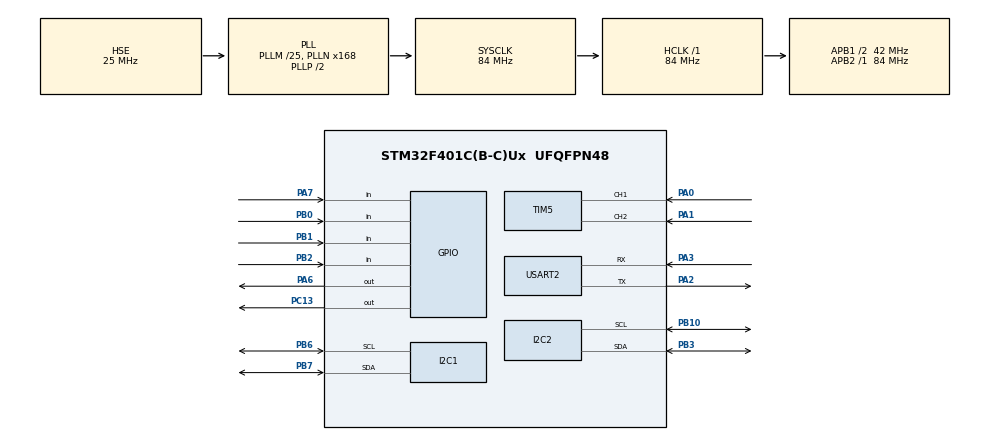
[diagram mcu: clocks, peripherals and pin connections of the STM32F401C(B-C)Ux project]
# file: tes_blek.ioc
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I2C1.I2C_Mode=I2C_Standard
I2C2.I2C_Mode=I2C_Fast
Mcu.Family=STM32F4
Mcu.Name=STM32F401C(B-C)Ux
Mcu.Package=UFQFPN48
NVIC.PriorityGroup=NVIC_PRIORITYGROUP_4
NVIC.TIM2_IRQn=true\:0\:0\:false\:false\:true\:true\:true\:true
NVIC.USART2_IRQn=true\:0\:0\:false\:false\:true\:true\:true\:true
PA0-WKUP.Signal=S_TIM5_CH1
PA1.Signal=S_TIM5_CH2
PA2.Mode=Asynchronous
PA2.Signal=USART2_TX
PA3.Mode=Asynchronous
PA3.Signal=USART2_RX
PA6.GPIO_PuPd=GPIO_NOPULL
PA6.Signal=GPIO_Output
PA7.GPIO_PuPd=GPIO_PULLDOWN
PA7.Signal=GPIO_Input
PB0.GPIO_PuPd=GPIO_PULLDOWN
PB0.Signal=GPIO_Input
PB1.GPIO_PuPd=GPIO_PULLDOWN
PB1.Signal=GPIO_Input
PB10.Mode=I2C
PB10.Signal=I2C2_SCL
PB2.GPIO_PuPd=GPIO_PULLUP
PB2.Signal=GPIO_Input
PB3.Mode=I2C
PB3.Signal=I2C2_SDA
PB6.Mode=I2C
PB6.Signal=I2C1_SCL
PB7.Mode=I2C
PB7.Signal=I2C1_SDA
PC13-ANTI_TAMP.GPIO_PuPd=GPIO_PULLDOWN
PC13-ANTI_TAMP.Signal=GPIO_Output
PH0\ -\ OSC_IN.Mode=HSE-External-Oscillator
PH0\ -\ OSC_IN.Signal=RCC_OSC_IN
PH1\ -\ OSC_OUT.Mode=HSE-External-Oscillator
PH1\ -\ OSC_OUT.Signal=RCC_OSC_OUT
ProjectManager.HeapSize=0x200
ProjectManager.StackSize=0x400
ProjectManager.TargetToolchain=STM32CubeIDE
RCC.48MHZClocksFreq_Value=42000000
RCC.AHBFreq_Value=84000000
RCC.APB1CLKDivider=RCC_HCLK_DIV2
RCC.APB1Freq_Value=42000000
RCC.APB1TimFreq_Value=84000000
RCC.APB2Freq_Value=84000000
RCC.APB2TimFreq_Value=84000000
RCC.CortexFreq_Value=84000000
RCC.HCLKFreq_Value=84000000
RCC.HSE_VALUE=25000000
RCC.HSI_VALUE=16000000
RCC.LSE_VALUE=32768
RCC.PLLM=25
RCC.PLLN=168
RCC.PLLSourceVirtual=RCC_PLLSOURCE_HSE
RCC.SYSCLKFreq_VALUE=84000000
RCC.SYSCLKSource=RCC_SYSCLKSOURCE_PLLCLK
RCC.VCOOutputFreq_Value=168000000
SH.S_TIM5_CH1.0=TIM5_CH1,Encoder_Interface
SH.S_TIM5_CH2.0=TIM5_CH2,Encoder_Interface
TIM2.Period=999
TIM2.Prescaler=83
USART2.VirtualMode=VM_ASYNC
VP_TIM2_VS_ClockSourceINT.Mode=Internal
board=custom

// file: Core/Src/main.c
/* USER CODE BEGIN Header */
/**
  ******************************************************************************
  * @file           : main.c
  * @brief          : Main program body
  ******************************************************************************
  * @attention
  *
  * Copyright (c) 2024 STMicroelectronics.
  * All rights reserved.
  *
  * This software is licensed under terms that can be found in the LICENSE file
  * in the root directory of this software component.
  * If no LICENSE file comes with this software, it is provided AS-IS.
  *
  ******************************************************************************
  */
/* USER CODE END Header */
#include "main.h"
#include "i2c.h"
#include "tim.h"
#include "usart.h"
#include "gpio.h"

/* USER CODE BEGIN Includes */
#include "math.h"
#include "stdio.h"
#include "string.h"
#include "ssd1306.h"
#include "si5351.h"
/* USER CODE END Includes */

/* USER CODE BEGIN PV */
uint8_t tes;

uint32_t timerEnc = 0, timerOled = 0, timerDDS = 0;
uint32_t timerLed = 0;

int16_t rotEnc, countEnc = 0;

uint8_t i2c_val;

uint8_t Rx_buff[32];
uint8_t Rx_temp;
uint8_t Rx_state;

long freq_esp;

uint8_t button_biru, button_putih, button_kuning, button_merah;

uint8_t menu_active = 1;
uint8_t submenu_active = 0;
uint8_t subsubmenu_active = 0;

char *menu_items[] = {"Disable Clock", "Gen CLK ENC", "Gen CLK IOT"};
char *submenu_disable_items[] = {"Back"};
char *submenu_enc_items[] = {"Clock 0", "Clock 1", "Clock 2", "Back"};
char *submenu_iot_items[] = {"Back"};
char *units[] = {"Hz", "kHz", "MHz"};
int menu_index = 0;
int submenu_index = 0;
int unit_index = 0;
int16_t frequency = 0;
int active_submenu = 0; // 0: Disable, 1: ENC, 2: IOT
/* USER CODE END PV */

void SystemClock_Config(void);

/* USER CODE BEGIN 0 */

void ScanningI2C() {
    HAL_StatusTypeDef res;
    for(uint16_t i = 0; i < 128; i++) {
        res = HAL_I2C_IsDeviceReady(&hi2c1, i << 1, 1, 10);
        if(res == HAL_OK) {
            i2c_val = 1;
        } else {
        	i2c_val = 0;
        }
    }
}

void init_dds() {
	ScanningI2C();
	const int32_t correction = 978;
	si5351_Init(correction);
	si5351_SetupCLK0(10000, SI5351_DRIVE_STRENGTH_4MA);
	si5351_SetupCLK1(20000, SI5351_DRIVE_STRENGTH_4MA);
	si5351_SetupCLK2(30000, SI5351_DRIVE_STRENGTH_4MA);
	si5351_EnableOutputs((1<<0) | (1<<1) | (1<<2));
}

void display_menu() {
    ssd1306_Fill(Black);
    for (int i = 0; i < 3; i++) {
        ssd1306_SetCursor(0, i * 10);
        ssd1306_WriteString(menu_items[i], Font_7x10, White);
        if (i == menu_index) {
            ssd1306_SetCursor(100, i * 10);
            ssd1306_WriteString("<--", Font_7x10, White);
        }
    }
    ssd1306_UpdateScreen(&hi2c2);
}

void display_submenu() {
    ssd1306_Fill(Black);
    char **submenu_items;
    int submenu_length;

    switch (active_submenu) {
        case 0:
            submenu_items = submenu_disable_items;
            submenu_length = 1;
            break;
        case 1:
            submenu_items = submenu_enc_items;
            submenu_length = 4;
            break;
        case 2:
            submenu_items = submenu_iot_items;
            submenu_length = 1;
            break;
    }

    for (int i = 0; i < submenu_length; i++) {
        ssd1306_SetCursor(0, i * 10);
        ssd1306_WriteString(submenu_items[i], Font_7x10, White);
        if (i == submenu_index) {
            ssd1306_SetCursor(100, i * 10);
            ssd1306_WriteString("<--", Font_7x10, White);
        }
    }
    ssd1306_UpdateScreen(&hi2c2);
}

void display_frequency() {
    ssd1306_Fill(Black);
    char buff[32];
    snprintf(buff, sizeof(buff), "Freq: %d %s", frequency, units[unit_index]);
    ssd1306_SetCursor(0, 0);
    ssd1306_WriteString(buff, Font_7x10, White);
    ssd1306_SetCursor(0, 10);
    ssd1306_WriteString("Yellow for Back", Font_7x10, White);
    ssd1306_UpdateScreen(&hi2c2);
}

void display_freq_esp() {
    ssd1306_Fill(Black);
    char buff[32];
    snprintf(buff, sizeof(buff), "Freq ESP: %ld Hz", freq_esp);
    ssd1306_SetCursor(0, 0);
    ssd1306_WriteString(buff, Font_7x10, White);
    ssd1306_SetCursor(0, 10);
    ssd1306_WriteString("Blue for Gen", Font_7x10, White);
    ssd1306_SetCursor(0, 20);
    ssd1306_WriteString("Yellow for Bac```k", Font_7x10, White);
    ssd1306_UpdateScreen(&hi2c2);
}

void setup_clock(int clock_index, int frequency, int unit_index) {
    long freq_hz = frequency;
    switch (unit_index) {
        case 0: // Hz
            freq_hz = frequency;
            break;
        case 1: // kHz
            freq_hz = frequency * 1000;
            break;
        case 2: // MHz
            freq_hz = frequency * 1000000;
            break;
    }

    switch (clock_index) {
        case 0:
            si5351_SetupCLK0(freq_hz, SI5351_DRIVE_STRENGTH_4MA);
            break;
        case 1:
            si5351_SetupCLK1(freq_hz, SI5351_DRIVE_STRENGTH_4MA);
            break;
        case 2:
            si5351_SetupCLK2(freq_hz, SI5351_DRIVE_STRENGTH_4MA);
            break;
    }
    si5351_EnableOutputs((1 << clock_index));
}

/* USER CODE END 0 */

int main(void)
{

  /* MCU Configuration--------------------------------------------------------*/

  /* Reset of all peripherals, Initializes the Flash interface and the Systick. */
  HAL_Init();

  /* Configure the system clock */
  SystemClock_Config();

  /* Initialize all configured peripherals */
  MX_GPIO_Init();
  MX_I2C1_Init();
  MX_I2C2_Init();
  MX_USART2_UART_Init();
  MX_TIM2_Init();
  MX_TIM5_Init();
  /* USER CODE BEGIN 2 */
  HAL_TIM_Base_Start_IT(&htim2);
  HAL_TIM_Encoder_Start(&htim5, TIM_CHANNEL_ALL);
  HAL_UART_Receive_IT(&huart2, &Rx_temp, 1);
  ssd1306_Init(&hi2c2);
  init_dds();

  // Display ke OLED
  ssd1306_UpdateScreen(&hi2c2);
  ssd1306_SetCursor(7, 0);
  ssd1306_WriteString("Muhammad Hafidzh", Font_7x10, White);
  ssd1306_SetCursor(15, 15);
  ssd1306_WriteString("FP SET", Font_16x26, White);
  ssd1306_SetCursor(30, 50);
  ssd1306_WriteString("5022221069", Font_7x10, White);
  ssd1306_UpdateScreen(&hi2c2);
  HAL_Delay(3000);
  ssd1306_Fill(Black);
  ssd1306_UpdateScreen(&hi2c2);

  // inisiasi menu awal
  display_menu();
  /* USER CODE END 2 */

  /* Infinite loop */
  /* USER CODE BEGIN WHILE */
  while (1)
  {
	HAL_GPIO_WritePin(GPIOA, GPIO_PIN_6, GPIO_PIN_SET);

	//merah b2, bir b1, kuning b0, putih a7
    if (menu_active)
    {
        if(HAL_GPIO_ReadPin(GPIOB, GPIO_PIN_1) == GPIO_PIN_SET)
        {
            button_biru = 1;
        }
        else
        {
            button_biru = 0;
        }

        if(HAL_GPIO_ReadPin(GPIOB, GPIO_PIN_2) == GPIO_PIN_SET)
        {
            button_merah = 1;
        }
        else
        {
            button_merah = 0;
        }

        if(button_merah)
        {
            // Scroll
            menu_index = (menu_index + 1) % 3;
            display_menu();
            HAL_Delay(300);
        }

        if(button_biru)
        {
            switch(menu_index)
            {
                case 0:
                    // Disable Clock
                    si5351_EnableOutputs(0);
                    ssd1306_Fill(Black);
                    ssd1306_SetCursor(0, 15);
                    ssd1306_WriteString("Clock Disabled", Font_7x10, White);
                    ssd1306_UpdateScreen(&hi2c2);
                    HAL_Delay(2000);
                    submenu_active = 1;
                    menu_active = 0;
                    active_submenu = 0;
                    display_submenu();
                    break;
                case 1:
                    // Gen CLK ENC
                    submenu_active = 1;
                    menu_active = 0;
                    active_submenu = 1;
                    display_submenu();
                    break;
                case 2:
                    // Gen CLK IOT
                    // si5351_SetupCLK1(20000, SI5351_DRIVE_STRENGTH_4MA);
                    // si5351_EnableOutputs((1<<1));
                    submenu_active = 1;
                    menu_active = 0;
                    active_submenu = 2;
                    display_freq_esp();
                    break;
            }
            HAL_Delay(300);
        }
    }
    else if (submenu_active && active_submenu != 2)
    {
        if(HAL_GPIO_ReadPin(GPIOB, GPIO_PIN_1) == GPIO_PIN_SET)
        {
            button_biru = 1;
        }
        else
        {
            button_biru = 0;
        }

        if(HAL_GPIO_ReadPin(GPIOB, GPIO_PIN_2) == GPIO_PIN_SET)
        {
            button_merah = 1;
        }
        else
        {
            button_merah = 0;
        }

        if(button_merah)
        {
            // Scroll submenu
            int submenu_length = (active_submenu == 1) ? 4 : 1;
            submenu_index = (submenu_index + 1) % submenu_length;
            display_submenu();
            HAL_Delay(300);
        }

        if(button_biru)
        {
            switch(active_submenu)
            {
                case 0:
                    if(submenu_index == 0)
                    {
                        submenu_active = 0;
                        menu_active = 1;
                        display_menu();
                    }
                    break;
                case 1:
                    // Gen CLK ENC submenu
                    switch(submenu_index)
                    {
                        case 0:
                        case 1:
                        case 2:
                            subsubmenu_active = 1;
                            submenu_active = 0;
                            display_frequency();
                            break;
                        case 3:
                            // Back to main menu
                            submenu_active = 0;
                            menu_active = 1;
                            display_menu();
                            break;
                    }
                    break;
                case 2:
                    // Gen CLK IOT submenu
                    display_freq_esp();
                    break;
            }
            HAL_Delay(300);
        }
    }
    else if (subsubmenu_active)
    {
        if(HAL_GPIO_ReadPin(GPIOB, GPIO_PIN_1) == GPIO_PIN_SET)
        {
            button_biru = 1;
        }
        else
        {
            button_biru = 0;
        }

        if(HAL_GPIO_ReadPin(GPIOB, GPIO_PIN_2) == GPIO_PIN_SET)
        {
            button_merah = 1;
        }
        else
        {
            button_merah = 0;
        }

        if(HAL_GPIO_ReadPin(GPIOA, GPIO_PIN_7) == GPIO_PIN_SET)
        {
            button_putih = 1;
        }
        else
        {
            button_putih = 0;
        }

        if(HAL_GPIO_ReadPin(GPIOB, GPIO_PIN_0) == GPIO_PIN_SET)
        {
            button_kuning = 1;
        }
        else
        {
            button_kuning = 0;
        }

        // Update frekuensi dan satuan
        frequency = countEnc;
        if(frequency > 100) frequency = 100; // Batas maksimum
        if(frequency < 0) frequency = 0;     // Batas minimum
        display_frequency();

        if(button_putih)
        {
            // ubah unit
            unit_index = (unit_index + 1) % 3;
            display_frequency();
            HAL_Delay(300);
        }

        if(button_kuning)
        {
            // Back
            subsubmenu_active = 0;
            submenu_active = 1;
            display_submenu();
            HAL_Delay(300);
        }

        if(button_biru)
        {
            ssd1306_Fill(Black);
            ssd1306_SetCursor(0, 15);
            if(submenu_index == 0)
            	ssd1306_WriteString("Generate CLK0 ", Font_7x10, White);
            else if(submenu_index == 1)
            	ssd1306_WriteString("Generate CLK1 ", Font_7x10, White);
            else if(submenu_index == 2)
            	ssd1306_WriteString("Generate CLK2 ", Font_7x10, White);
            ssd1306_UpdateScreen(&hi2c2);
            HAL_Delay(2000);
            submenu_active = 0;
            menu_active = 0;
            active_submenu = 1;
            display_frequency();
            setup_clock(submenu_index, frequency, unit_index);
            HAL_Delay(300);
        }

    }
    else if (active_submenu == 2) // Gen CLK IOT submenu active
    {
        if(HAL_GPIO_ReadPin(GPIOB, GPIO_PIN_1) == GPIO_PIN_SET)
        {
            button_biru = 1;
        }
        else
        {
            button_biru = 0;
        }

        if(HAL_GPIO_ReadPin(GPIOB, GPIO_PIN_0) == GPIO_PIN_SET)
        {
            button_kuning = 1;
        }
        else
        {
            button_kuning = 0;
        }

        if(button_biru)
        {
            ssd1306_Fill(Black);
            ssd1306_SetCursor(0, 15);
            ssd1306_WriteString("Generate FreqEsp", Font_7x10, White);
            ssd1306_UpdateScreen(&hi2c2);
            HAL_Delay(2000);
            submenu_active = 1;
            menu_active = 0;
            active_submenu = 2;
            display_freq_esp();
            // Setup clock with freq_esp
//            setup_clock(1, freq_esp, 0); //
            si5351_SetupCLK0(freq_esp, SI5351_DRIVE_STRENGTH_4MA);
            si5351_SetupCLK1(freq_esp*2, SI5351_DRIVE_STRENGTH_4MA);
            si5351_SetupCLK2(freq_esp*10, SI5351_DRIVE_STRENGTH_4MA);
            si5351_EnableOutputs((1<<0) | (1<<1) | (1<<2));
            HAL_Delay(300);
        }

        if(button_kuning)
        {
            submenu_active = 0;
            menu_active = 1;
            display_menu();
            HAL_Delay(300);
        }
    }
//
	  if(HAL_GetTick() - timerLed > 1000)
	  {
		  timerLed = HAL_GetTick();
		  HAL_GPIO_TogglePin(GPIOC, GPIO_PIN_13);
	  }

//	  if(HAL_GetTick() - timerEnc > 1)
//	  {
//		  timerEnc = HAL_GetTick();
//		  rotEnc = TIM1 -> CNT;
//	  }
	  // ssd1306_Fill(Black);
	  // char buff[32];
	  // snprintf(buff, sizeof(buff), "ENC : %d", rotEnc);
	  // ssd1306_SetCursor(0, 0);
	  // ssd1306_WriteString(buff, Font_7x10, White);
	  // ssd1306_UpdateScreen(&hi2c2);
    /* USER CODE END WHILE */

  }
}

void SystemClock_Config(void)
{
  RCC_OscInitTypeDef RCC_OscInitStruct = {0};
  RCC_ClkInitTypeDef RCC_ClkInitStruct = {0};

  /** Configure the main internal regulator output voltage
  */
  __HAL_RCC_PWR_CLK_ENABLE();
  __HAL_PWR_VOLTAGESCALING_CONFIG(PWR_REGULATOR_VOLTAGE_SCALE2);

  /** Initializes the RCC Oscillators according to the specified parameters
  * in the RCC_OscInitTypeDef structure.
  */
  RCC_OscInitStruct.OscillatorType = RCC_OSCILLATORTYPE_HSE;
  RCC_OscInitStruct.HSEState = RCC_HSE_ON;
  RCC_OscInitStruct.PLL.PLLState = RCC_PLL_ON;
  RCC_OscInitStruct.PLL.PLLSource = RCC_PLLSOURCE_HSE;
  RCC_OscInitStruct.PLL.PLLM = 25;
  RCC_OscInitStruct.PLL.PLLN = 168;
  RCC_OscInitStruct.PLL.PLLP = RCC_PLLP_DIV2;
  RCC_OscInitStruct.PLL.PLLQ = 4;
  if (HAL_RCC_OscConfig(&RCC_OscInitStruct) != HAL_OK)
  {
    Error_Handler();
  }

  /** Initializes the CPU, AHB and APB buses clocks
  */
  RCC_ClkInitStruct.ClockType = RCC_CLOCKTYPE_HCLK|RCC_CLOCKTYPE_SYSCLK
                              |RCC_CLOCKTYPE_PCLK1|RCC_CLOCKTYPE_PCLK2;
  RCC_ClkInitStruct.SYSCLKSource = RCC_SYSCLKSOURCE_PLLCLK;
  RCC_ClkInitStruct.AHBCLKDivider = RCC_SYSCLK_DIV1;
  RCC_ClkInitStruct.APB1CLKDivider = RCC_HCLK_DIV2;
  RCC_ClkInitStruct.APB2CLKDivider = RCC_HCLK_DIV1;

  if (HAL_RCC_ClockConfig(&RCC_ClkInitStruct, FLASH_LATENCY_2) != HAL_OK)
  {
    Error_Handler();
  }
}

/* USER CODE BEGIN 4 */
void HAL_TIM_PeriodElapsedCallback(TIM_HandleTypeDef *htim) {
    if (htim->Instance == TIM2)
    {
        rotEnc = TIM5->CNT;

        countEnc = rotEnc/2;

//        TIM1->CNT = 0;
    }
}
void HAL_UART_RxCpltCallback(UART_HandleTypeDef *huart)
{
	// Master-slave
	if (huart->Instance == USART2)
	{
		if (Rx_temp == 'i' && Rx_state == 0)
		{
			Rx_state = 1;
			Rx_buff[0] = Rx_temp;
			HAL_UART_Receive_IT(&huart2, &Rx_temp, 1);
		}
		else if (Rx_temp == 't' && Rx_state == 1)
		{
			Rx_state = 2;
			Rx_buff[1] = Rx_temp;
			HAL_UART_Receive_IT(&huart2, &Rx_temp, 1);
		}
		else if (Rx_temp == 's' && Rx_state == 2)
		{
			Rx_state = 3;
			Rx_buff[2] = Rx_temp;
			HAL_UART_Receive_IT(&huart2, Rx_buff + 3, 29);
		}
		else if (Rx_state == 3)
		{
			memcpy(&freq_esp, Rx_buff + 3, sizeof(freq_esp));

			Rx_state = 0;
			HAL_UART_Receive_IT(&huart2, &Rx_temp, 1);
		}
		else
		{
			Rx_state = 0;
			HAL_UART_Receive_IT(&huart2, &Rx_temp, 1);
		}
	}
}

/* USER CODE END 4 */

void Error_Handler(void)
{
  __disable_irq();
  while (1)
  {
  }
}
